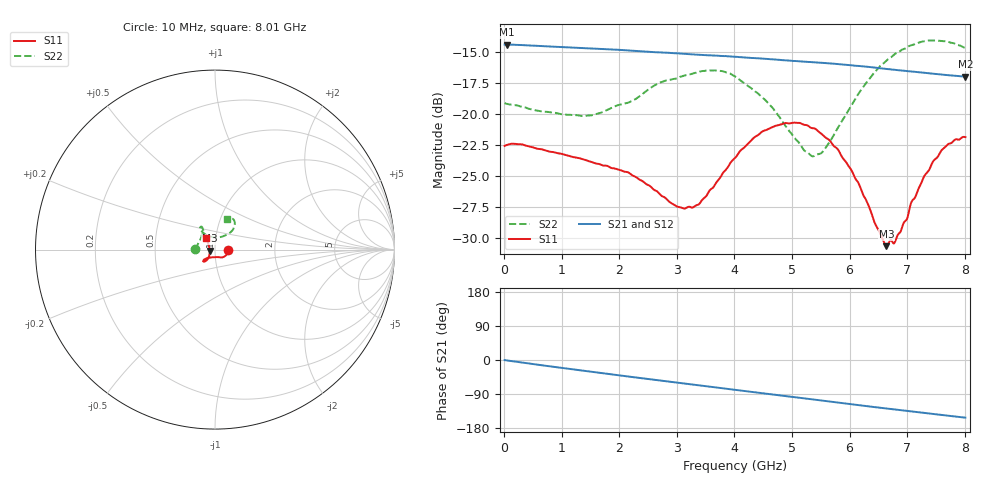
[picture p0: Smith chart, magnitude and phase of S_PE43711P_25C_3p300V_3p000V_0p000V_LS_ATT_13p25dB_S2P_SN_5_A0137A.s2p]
! Device ID: PE43711P
! File Path: z:\PE43711P\CHAR_NOM_04282014\AMB\3p300\LS_ATT_13p25dB\PE43711P_AMB_3p300V_3p000V_0p000V_LS_ATT_13p25dB_S2P_SN_5_A0137A.s2p
! Serial: 5
! Lot: A0137A
! Temp: 25C
! VDD: 3.300
! VSS: 0.000
! Control_Hi: 3.000
! Control_Lo: 0.000
! Attenuation Step: 13.25dB
! Port 1: RF1
! Port 2: RF2
! ThroughPath:1-2
! IDD: 0.0001279936
! ISS: -1.171e-007
#  Hz  S  RI  R  50
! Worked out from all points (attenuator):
!   801 points, 10 MHz to 8.01 GHz, reference 50 ohm
!   highest |S21| = -14.40 dB at 50 MHz (marker M1); lowest = -17.0 dB at 8.01 GHz (marker M2)
!   lowest |S11| = -30.7 dB at 6.64 GHz (marker M3), VSWR 1.06, Z = 47.2 - j0.578 ohm
!   |S11| at or under -10 dB: start of sweep to end of sweep
!   |S22| runs from -23.4 to -14.1 dB; largest |S21 - S12| = 0.0004
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1e7  0.0744 -7.89e-05  0.1905 -0.000888  0.1907 -0.000959  -0.1107 0.000849
5e7  0.075 -0.00128  0.1905 -0.00378  0.1906 -0.00376  -0.1098 0.00287
1.35e9  0.0541 -0.0376  0.1635 -0.0859  0.1636 -0.0859  -0.0864 0.0466
2.15e9  0.0379 -0.0443  0.1309 -0.124  0.1311 -0.1241  -0.07 0.0861
2.68e9  0.0228 -0.0425  0.1054 -0.1424  0.1054 -0.1425  -0.0675 0.1146
3.02e9  0.00823 -0.0415  0.0877 -0.152  0.0878 -0.1521  -0.0693 0.1216
3.3e9  -0.00608 -0.0419  0.0726 -0.1578  0.0726 -0.1579  -0.0732 0.1266
3.69e9  -0.029 -0.0446  0.0515 -0.1638  0.0514 -0.1639  -0.0812 0.1259
4.01e9  -0.0458 -0.0482  0.0333 -0.1668  0.0332 -0.1669  -0.0837 0.1144
4.34e9  -0.0592 -0.0543  0.0149 -0.1673  0.0148 -0.1674  -0.0734 0.1005
4.69e9  -0.0646 -0.0613  -0.00441 -0.1658  -0.00449 -0.1657  -0.0571 0.0866
5.08e9  -0.0633 -0.0669  -0.025 -0.1613  -0.0251 -0.1614  -0.0271 0.0735
5.35e9  -0.058 -0.0658  -0.0386 -0.157  -0.0386 -0.1572  -0.00138 0.0676
5.56e9  -0.0515 -0.0629  -0.049 -0.1529  -0.049 -0.1529  0.0216 0.0683
6.01e9  -0.0376 -0.0472  -0.0697 -0.141  -0.0699 -0.141  0.0667 0.083
6.64e9  -0.0287 -0.00611  -0.0936 -0.1196  -0.0936 -0.1198  0.1064 0.1248
6.68e9  -0.0302 -0.00267  -0.0949 -0.1183  -0.0948 -0.1184  0.1072 0.1284
6.8e9  -0.0305 0.00542  -0.0986 -0.1137  -0.0985 -0.1139  0.1095 0.1371
7.27e9  -0.0394 0.0376  -0.1113 -0.0958  -0.1112 -0.0959  0.1049 0.1655
7.46e9  -0.044 0.0477  -0.1155 -0.0881  -0.1155 -0.0882  0.096 0.1729
7.7e9  -0.0489 0.0572  -0.12 -0.0785  -0.12 -0.0784  0.0831 0.1772
8.01e9  -0.0501 0.0632  -0.125 -0.066  -0.1252 -0.0657  0.0692 0.1706
